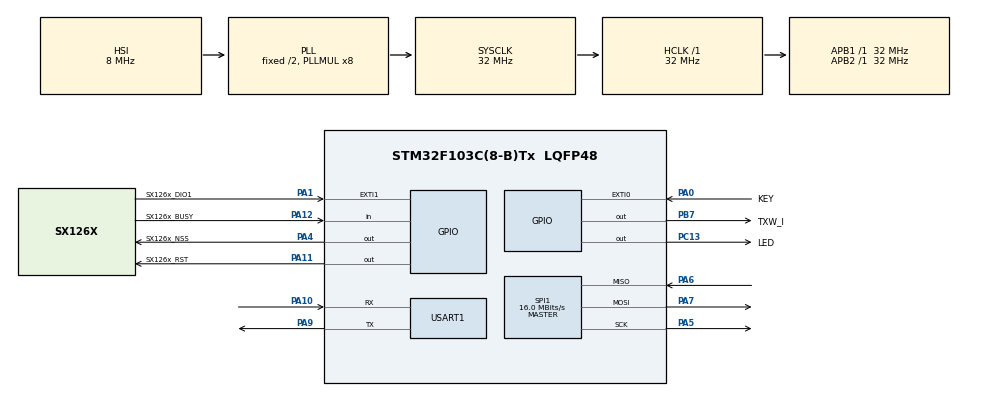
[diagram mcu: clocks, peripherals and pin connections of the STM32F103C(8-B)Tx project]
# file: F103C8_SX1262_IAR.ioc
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Mcu.Family=STM32F1
Mcu.Name=STM32F103C(8-B)Tx
Mcu.Package=LQFP48
NVIC.EXTI0_IRQn=true\:2\:0\:true\:false\:true\:true\:true
NVIC.EXTI1_IRQn=true\:2\:0\:true\:false\:true\:true\:true
NVIC.PriorityGroup=NVIC_PRIORITYGROUP_4
NVIC.TIM2_IRQn=true\:0\:0\:false\:false\:true\:true\:true
NVIC.TIM3_IRQn=true\:4\:0\:true\:false\:true\:true\:true
NVIC.USART1_IRQn=true\:3\:0\:true\:false\:true\:true\:true
PA0-WKUP.GPIO_Label=KEY
PA0-WKUP.GPIO_PuPd=GPIO_PULLDOWN
PA0-WKUP.Signal=GPXTI0
PA1.GPIO_Label=SX126x_DIO1
PA1.GPIO_PuPd=GPIO_PULLDOWN
PA1.Signal=GPXTI1
PA10.Mode=Asynchronous
PA10.Signal=USART1_RX
PA11.GPIO_Label=SX126x_RST
PA11.GPIO_Speed=GPIO_SPEED_FREQ_HIGH
PA11.PinState=GPIO_PIN_SET
PA11.Signal=GPIO_Output
PA12.GPIO_Label=SX126x_BUSY
PA12.Signal=GPIO_Input
PA4.GPIO_Label=SX126x_NSS
PA4.GPIO_Speed=GPIO_SPEED_FREQ_HIGH
PA4.PinState=GPIO_PIN_SET
PA4.Signal=GPIO_Output
PA5.Mode=Full_Duplex_Master
PA5.Signal=SPI1_SCK
PA6.Mode=Full_Duplex_Master
PA6.Signal=SPI1_MISO
PA7.Mode=Full_Duplex_Master
PA7.Signal=SPI1_MOSI
PA9.Mode=Asynchronous
PA9.Signal=USART1_TX
PB7.GPIO_Label=TXW_I
PB7.Signal=GPIO_Output
PC13-TAMPER-RTC.GPIO_Label=LED
PC13-TAMPER-RTC.GPIO_PuPd=GPIO_PULLUP
PC13-TAMPER-RTC.GPIO_Speed=GPIO_SPEED_FREQ_HIGH
PC13-TAMPER-RTC.PinState=GPIO_PIN_RESET
PC13-TAMPER-RTC.Signal=GPIO_Output
PC14-OSC32_IN.Mode=LSE-External-Oscillator
PC14-OSC32_IN.Signal=RCC_OSC32_IN
PC15-OSC32_OUT.Mode=LSE-External-Oscillator
PC15-OSC32_OUT.Signal=RCC_OSC32_OUT
PD0-OSC_IN.Mode=HSE-External-Oscillator
PD0-OSC_IN.Signal=RCC_OSC_IN
PD1-OSC_OUT.Mode=HSE-External-Oscillator
PD1-OSC_OUT.Signal=RCC_OSC_OUT
ProjectManager.HeapSize=0x200
ProjectManager.StackSize=0x400
ProjectManager.TargetToolchain=EWARM V8.32
RCC.AHBFreq_Value=32000000
RCC.APB1Freq_Value=32000000
RCC.APB1TimFreq_Value=32000000
RCC.APB2Freq_Value=32000000
RCC.APB2TimFreq_Value=32000000
RCC.HCLKFreq_Value=32000000
RCC.PLLMUL=RCC_PLL_MUL8
RCC.SYSCLKFreq_VALUE=32000000
RCC.SYSCLKSource=RCC_SYSCLKSOURCE_PLLCLK
RCC.USBFreq_Value=32000000
SPI1.CalculateBaudRate=16.0 MBits/s
SPI1.Direction=SPI_DIRECTION_2LINES
SPI1.Mode=SPI_MODE_MASTER
SPI1.VirtualType=VM_MASTER
TIM2.Period=79
TIM2.Prescaler=19
USART1.VirtualMode=VM_ASYNC
VP_SYS_VS_ND.Mode=No_Debug
VP_TIM2_VS_ClockSourceINT.Mode=Internal
VP_TIM3_VS_ClockSourceINT.Mode=Internal
board=custom

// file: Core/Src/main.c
/* USER CODE BEGIN Header */
/**
  ******************************************************************************
  * @file           : main.c
  * @brief          : Main program body
  ******************************************************************************
  * @attention
  *
  * <h2><center>&copy; Copyright (c) 2021 STMicroelectronics.
  * All rights reserved.</center></h2>
  *
  * This software component is licensed by ST under BSD 3-Clause license,
  * the "License"; You may not use this file except in compliance with the
  * License. You may obtain a copy of the License at:
  *                        opensource.org/licenses/BSD-3-Clause
  *
  ******************************************************************************
  */
/* USER CODE END Header */
#include "main.h"
#include "spi.h"
#include "tim.h"
#include "usart.h"
#include "gpio.h"

/* USER CODE BEGIN Includes */
#include <stdio.h>
#include "radio.h"
#include "sx126x_user.h"

/* USER CODE END Includes */

/* USER CODE BEGIN PV */
extern uint8_t  USART_RX_BUF[USART_REC_LEN]; 	//????????????,????¤§USART_REC_LEN?????????.?????????????????????
extern uint16_t USART_RX_STA;         			    //??????????????????
extern uint8_t aRxBuffer[RXBUFFERSIZE];		  	//HAL???USART??????Buffer
uint16_t times=0;
/* USER CODE END PV */

void SystemClock_Config(void);

int main(void)
{

  /* MCU Configuration--------------------------------------------------------*/

  /* Reset of all peripherals, Initializes the Flash interface and the Systick. */
  HAL_Init();

  /* USER CODE BEGIN Init */
  delay_init();
  /* USER CODE END Init */

  /* Configure the system clock */
  SystemClock_Config();

  /* Initialize all configured peripherals */
  MX_GPIO_Init();
  MX_SPI1_Init();
  MX_USART1_UART_Init();
  MX_TIM2_Init();
  MX_TIM3_Init();
  /* USER CODE BEGIN 2 */
  __HAL_UART_ENABLE_IT(&huart1,UART_IT_RXNE);//需要使能串口的什么中断（接收完成中断）

 /************************SX1262****************************/
	SX126xAppInit();		// 初始化LoRa
	printf("SX1262初始化完成! SF%d, BW125\r\n", LORA_SPREADING_FACTOR);
	printf("Rx Gain mode=0x%02X (0x94=power saving, 0x96=Rx boosted)\r\n",
	radio.ReadReg(REG_RX_GAIN));

	uint8_t syncWord[2];
	radio.ReadRegister(REG_LR_SYNCWORD, syncWord, 2);
	printf("LoRa Sync Word: 0x%04X\r\n",(syncWord[0]<<8)|(syncWord[1]));
	radio.SetRx(0);			// 打开接收窗口

  /* USER CODE END 2 */

  /* Infinite loop */
  /* USER CODE BEGIN WHILE */
  while (1)
  {
     LED_Toggle();
     delay_ms(200);
    /* USER CODE END WHILE */

  }
}

void SystemClock_Config(void)
{
  RCC_OscInitTypeDef RCC_OscInitStruct = {0};
  RCC_ClkInitTypeDef RCC_ClkInitStruct = {0};

  /** Initializes the RCC Oscillators according to the specified parameters
  * in the RCC_OscInitTypeDef structure.
  */
  RCC_OscInitStruct.OscillatorType = RCC_OSCILLATORTYPE_HSI;
  RCC_OscInitStruct.HSIState = RCC_HSI_ON;
  RCC_OscInitStruct.HSICalibrationValue = RCC_HSICALIBRATION_DEFAULT;
  RCC_OscInitStruct.PLL.PLLState = RCC_PLL_ON;
  RCC_OscInitStruct.PLL.PLLSource = RCC_PLLSOURCE_HSI_DIV2;
  RCC_OscInitStruct.PLL.PLLMUL = RCC_PLL_MUL8;
  if (HAL_RCC_OscConfig(&RCC_OscInitStruct) != HAL_OK)
  {
    Error_Handler();
  }
  /** Initializes the CPU, AHB and APB buses clocks
  */
  RCC_ClkInitStruct.ClockType = RCC_CLOCKTYPE_HCLK|RCC_CLOCKTYPE_SYSCLK
                              |RCC_CLOCKTYPE_PCLK1|RCC_CLOCKTYPE_PCLK2;
  RCC_ClkInitStruct.SYSCLKSource = RCC_SYSCLKSOURCE_PLLCLK;
  RCC_ClkInitStruct.AHBCLKDivider = RCC_SYSCLK_DIV1;
  RCC_ClkInitStruct.APB1CLKDivider = RCC_HCLK_DIV1;
  RCC_ClkInitStruct.APB2CLKDivider = RCC_HCLK_DIV1;

  if (HAL_RCC_ClockConfig(&RCC_ClkInitStruct, FLASH_LATENCY_1) != HAL_OK)
  {
    Error_Handler();
  }
}

/* USER CODE BEGIN 4 */
void HAL_GPIO_EXTI_Callback(uint16_t GPIO_Pin)
{
    delay_ms(50);      	//??????
    if(GPIO_Pin == GPIO_PIN_0){
            if(WK_UP==1)
            {
              printf("EXTI0 normal\r\n");
            }
    }
}

/* USER CODE END 4 */

void Error_Handler(void)
{
  __disable_irq();
  while (1)
  {
  }
}

/************************ (C) COPYRIGHT STMicroelectronics *****END OF FILE****/
